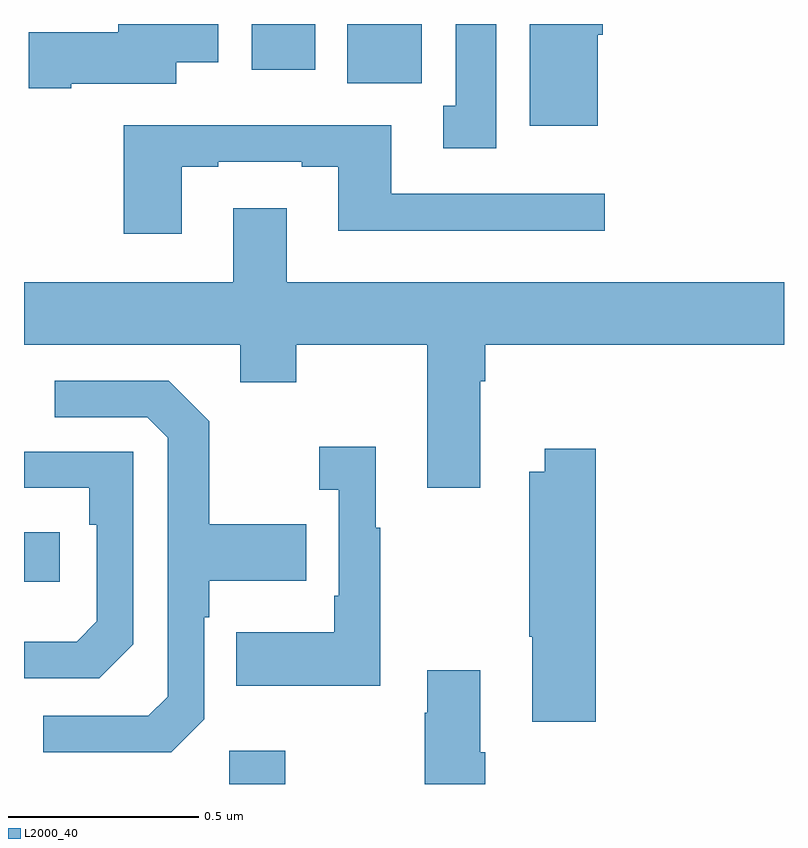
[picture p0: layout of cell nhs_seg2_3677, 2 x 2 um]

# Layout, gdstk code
import gdstk
lib = gdstk.Library(unit=1e-6, precision=1e-09)
def R(c, l, rs):  # rectangles x0, y0, x1, y1
    for r in rs: c.add(gdstk.rectangle(r[:2], r[2:], *l))
def P(c, l, *ps):  # polygons
    for p in ps: c.add(gdstk.Polygon(p, *l))
L2000_40 = (2000, 40)

nhs_seg2_3677 = lib.new_cell('nhs_seg2_3677')
R(nhs_seg2_3677, L2000_40, [(156.54,659.8,156.687,659.887), (156,660.332,156.094,660.462), (156.851,661.644,157.047,661.8), (156.599,661.68,156.766,661.8)])
P(nhs_seg2_3677, L2000_40, [(157.51,661.772),(157.523,661.772),(157.523,661.8),(157.331,661.8),(157.331,661.532),(157.51,661.532)],
  [(156.124,661.643),(156.4,661.643),(156.4,661.7),(156.511,661.7),(156.511,661.8),(156.248,661.8),(156.248,661.778),(156.012,661.778),(156.012,661.631),(156.124,661.631)],
  [(157.243,661.8),(157.136,661.8),(157.136,661.585),(157.103,661.585),(157.103,661.473),(157.243,661.473)],
  [(156.415,661.425),(156.511,661.425),(156.511,661.437),(156.731,661.437),(156.731,661.425),(156.827,661.425),(156.827,661.256),(157.528,661.256),(157.528,661.353),(156.967,661.353),(156.967,661.534),(156.263,661.534),(156.263,661.248),(156.415,661.248)],
  [(157.201,660.86),(157.214,660.86),(157.214,660.956),(158,660.956),(158,661.12),(156.691,661.12),(156.691,661.315),(156.551,661.315),(156.551,661.12),(156,661.12),(156,660.956),(156.569,660.956),(156.569,660.857),(156.717,660.857),(156.717,660.956),(157.061,660.956),(157.061,660.579),(157.201,660.579)],
  [(156.474,659.97),(156.474,660.239),(156.487,660.239),(156.487,660.335),(156.743,660.335),(156.743,660.483),(156.487,660.483),(156.487,660.755),(156.381,660.861),(156.081,660.861),(156.081,660.765),(156.324,660.765),(156.378,660.711),(156.378,660.03),(156.327,659.979),(156.051,659.979),(156.051,659.883),(156.387,659.883)],
  [(156.937,660.475),(156.925,660.475),(156.925,660.688),(156.777,660.688),(156.777,660.575),(156.828,660.575),(156.828,660.295),(156.816,660.295),(156.816,660.199),(156.559,660.199),(156.559,660.059),(156.937,660.059)],
  [(157.505,660.682),(157.37,660.682),(157.37,660.622),(157.33,660.622),(157.33,660.187),(157.337,660.187),(157.337,659.964),(157.505,659.964)],
  [(156.288,660.168),(156.288,660.675),(156,660.675),(156,660.579),(156.172,660.579),(156.172,660.482),(156.192,660.482),(156.192,660.228),(156.139,660.175),(156,660.175),(156,660.078),(156.198,660.078)],
  [(157.214,659.884),(157.201,659.884),(157.201,660.1),(157.061,660.1),(157.061,659.987),(157.054,659.987),(157.054,659.8),(157.214,659.8)])

lib.write_gds('nhs_seg2_3677.gds')
